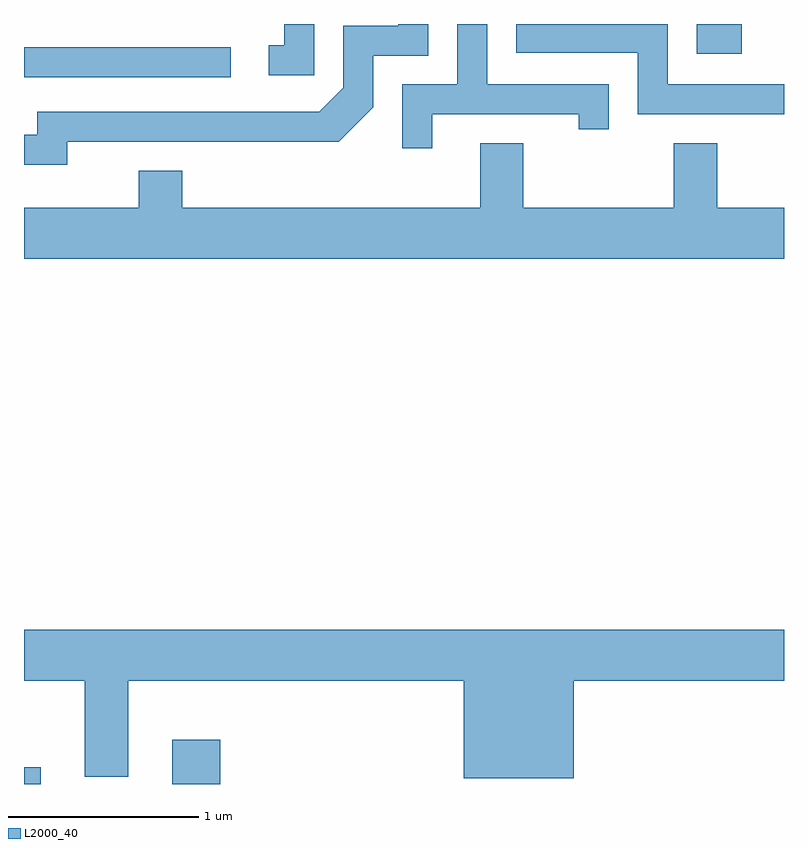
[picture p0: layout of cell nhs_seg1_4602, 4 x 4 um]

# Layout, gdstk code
import gdstk
lib = gdstk.Library(unit=1e-6, precision=1e-09)
def R(c, l, rs):  # rectangles x0, y0, x1, y1
    for r in rs: c.add(gdstk.rectangle(r[:2], r[2:], *l))
def P(c, l, *ps):  # polygons
    for p in ps: c.add(gdstk.Polygon(p, *l))
L2000_40 = (2000, 40)

nhs_seg1_4602 = lib.new_cell('nhs_seg1_4602')
R(nhs_seg1_4602, L2000_40, [(323.611,885.712,323.699,885.799), (324.391,885.712,324.644,885.944), (323.611,889.431,324.698,889.589), (327.151,889.556,327.388,889.712)])
P(nhs_seg1_4602, L2000_40, [(323.839,889.091),(325.267,889.091),(325.449,889.274),(325.449,889.546),(325.739,889.546),(325.739,889.712),(325.581,889.712),(325.581,889.704),(325.291,889.704),(325.291,889.377),(325.164,889.249),(323.681,889.249),(323.681,889.129),(323.611,889.129),(323.611,888.971),(323.839,888.971)],
  [(327.611,889.394),(326.999,889.394),(326.999,889.712),(326.201,889.712),(326.201,889.561),(326.841,889.561),(326.841,889.236),(327.611,889.236)],
  [(325.759,889.236),(326.531,889.236),(326.531,889.158),(326.689,889.158),(326.689,889.394),(326.049,889.394),(326.049,889.712),(325.891,889.712),(325.891,889.394),(325.601,889.394),(325.601,889.058),(325.759,889.058)],
  [(325.139,889.712),(324.981,889.712),(324.981,889.599),(324.898,889.599),(324.898,889.441),(325.139,889.441)],
  [(327.611,888.744),(327.259,888.744),(327.259,889.084),(327.031,889.084),(327.031,888.744),(326.239,888.744),(326.239,889.084),(326.011,889.084),(326.011,888.744),(324.444,888.744),(324.444,888.939),(324.216,888.939),(324.216,888.744),(323.611,888.744),(323.611,888.476),(327.611,888.476)],
  [(326.504,886.256),(327.611,886.256),(327.611,886.524),(323.611,886.524),(323.611,886.256),(323.931,886.256),(323.931,885.751),(324.159,885.751),(324.159,886.256),(325.926,886.256),(325.926,885.741),(326.504,885.741)])

lib.write_gds('nhs_seg1_4602.gds')
